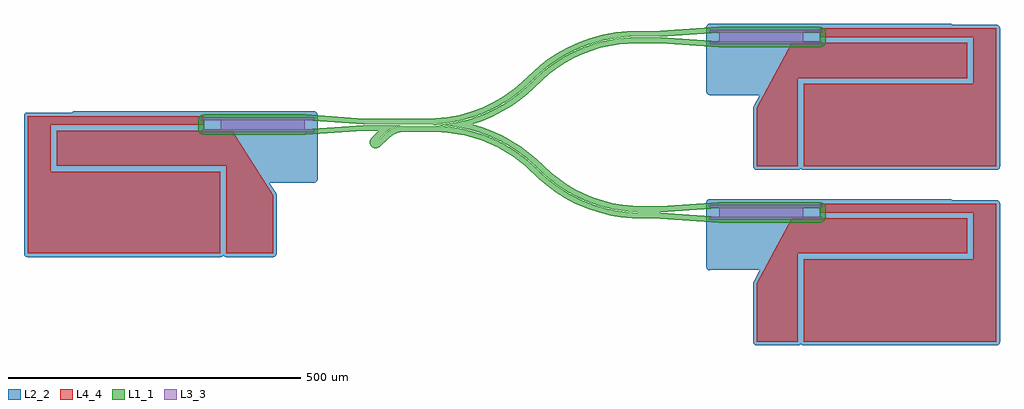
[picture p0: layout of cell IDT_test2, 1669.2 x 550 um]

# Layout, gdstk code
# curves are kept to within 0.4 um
import gdstk
lib = gdstk.Library(unit=1e-6, precision=1e-09)
def P(c, l, *ps):  # polygons
    for p in ps: c.add(gdstk.Polygon(p, *l))
L1_1 = (1, 1)
L2_2 = (2, 2)
L3_3 = (3, 3)
L4_4 = (4, 4)

idt_test2 = lib.new_cell('IDT_test2')
P(idt_test2, L1_1, [(-778.8,-12.75),(-952.58,-12.702),(-957.944,-10.48),(-961.169,-5.653),(-961.552,13.23),(-960.419,16.964),(-957.944,19.98),(-955.427,21.489),(-951.6,22.25),(-778.8,22.25),(-678.455,15.35),(-565.816,15.369),(-536.073,17.598),(-515.529,21.352),(-495.389,26.884),(-475.809,34.149),(-456.936,43.093),(-438.915,53.648),(-423.728,64.424),(-423.728,51.889),(-441.417,40.335),(-460.589,30.048),(-480.585,21.472),(-501.252,14.672),(-522.434,9.698),(-543.968,6.589),(-565.691,5.369),(-678.8,5.35),(-778.8,12.25),(-951.6,12.25),(-951.6,-2.75),(-778.8,-2.75),(-678.8,4.15),(-568.8,4.15),(-550.073,4.851),(-531.45,6.949),(-516.086,9.757),(-500.927,13.516),(-483.09,19.263),(-468.587,25.059),(-451.702,33.191),(-438.128,40.915),(-423.728,50.417),(-423.728,38.307),(-424.746,37.585),(-441.269,27.488),(-458.609,18.593),(-476.565,11.018),(-493.392,5.304),(-475.862,0.1),(-460.518,-5.594),(-442.868,-13.558),(-428.446,-21.295),(-423.728,-24.26),(-423.728,-35.873),(-438.95,-26.868),(-452.892,-19.829),(-467.246,-13.673),(-484.934,-7.483),(-499.995,-3.347),(-515.284,-0.157),(-533.848,2.405),(-549.43,3.475),(-610.061,3.634),(-621.896,1.926),(-630.755,-1.361),(-639.353,-6.615),(-644.58,-11.17),(-658.298,-25.736),(-637.135,-6.484),(-628.555,-1.672),(-619.191,1.345),(-610.032,2.435),(-558.8,2.45),(-533.968,1.211),(-515.492,-1.339),(-494.251,-6.048),(-476.428,-11.545),(-456.225,-19.62),(-439.523,-27.922),(-423.728,-37.296),(-423.728,-49.313),(-449.583,-33.915),(-476.92,-21.988),(-505.529,-13.552),(-534.963,-8.74),(-555.816,-7.569),(-611.744,-7.66),(-620.413,-9.301),(-628.5,-12.829),(-634.87,-17.409),(-652.173,-33.642),(-656.53,-35.58),(-660.358,-35.522),(-663.884,-34.031),(-666.592,-31.323),(-668.083,-27.797),(-667.925,-23.031),(-666.203,-19.612),(-653.306,-5.85),(-678.455,-5.85)],
  [(-421.882,65.733),(-408.167,77.241),(-388.992,95.741),(-376.75,106.414),(-363.766,116.377),(-347.632,127.085),(-330.526,136.679),(-309.976,146.106),(-291.545,152.814),(-269.621,158.83),(-247.38,162.895),(-227.989,164.84),(-171.545,165.35),(-71.2,172.25),(101.6,172.25),(104.503,171.819),(107.944,169.98),(109.915,167.806),(111.408,164.201),(111.169,144.347),(107.944,139.52),(102.58,137.298),(-71.2,137.25),(-171.545,144.15),(-211.662,144.15),(-241.461,142.292),(-256.2,139.976),(-273.654,135.992),(-290.762,130.715),(-304.684,125.351),(-318.246,119.13),(-333.968,110.568),(-349.007,100.855),(-360.957,91.92),(-374.526,80.242),(-398.861,57.182),(-411.498,46.98),(-423.728,38.307),(-423.728,50.417),(-402.982,66.855),(-372.004,95.801),(-352.185,110.814),(-330.97,123.778),(-308.569,134.566),(-285.205,143.07),(-261.111,149.205),(-242.705,152.214),(-224.125,153.84),(-171.2,154.15),(-71.2,147.25),(101.6,147.25),(101.6,162.25),(-71.2,162.25),(-171.2,155.35),(-227.304,154.863),(-242.854,153.405),(-258.283,150.981),(-279.566,145.984),(-300.332,139.15),(-320.424,130.533),(-339.689,120.197),(-355.431,110.03),(-370.37,98.714),(-382.145,88.453),(-403.776,67.755),(-423.728,51.889),(-423.728,64.424)],
  [(-412.05,-31.597),(-396.367,-43.166),(-383.896,-53.764),(-357.276,-78.641),(-333.279,-96.352),(-317.887,-105.496),(-301.855,-113.464),(-285.273,-120.212),(-268.232,-125.702),(-253.751,-129.294),(-236.12,-132.402),(-218.306,-134.185),(-171.545,-134.65),(-71.2,-127.75),(102.58,-127.798),(105.427,-128.511),(108.671,-130.679),(110.839,-133.923),(111.6,-137.75),(111.169,-155.653),(108.671,-159.821),(103.551,-162.558),(-71.2,-162.75),(-171.545,-155.85),(-219.689,-155.34),(-238.956,-153.412),(-255.091,-150.67),(-277.036,-145.228),(-295.628,-138.982),(-316.407,-130.069),(-333.747,-120.905),(-350.143,-110.603),(-365.826,-99.034),(-378.297,-88.436),(-402.643,-65.492),(-423.728,-49.313),(-423.728,-37.296),(-410.701,-46.283),(-398.489,-55.899),(-371.541,-81.063),(-359.64,-91.177),(-347.131,-100.53),(-331.389,-110.697),(-312.124,-121.033),(-292.032,-129.65),(-271.266,-136.484),(-249.983,-141.481),(-234.554,-143.905),(-219.004,-145.363),(-211.2,-145.85),(-171.2,-145.85),(-71.2,-152.75),(101.6,-152.75),(101.6,-137.75),(-71.2,-137.75),(-171.2,-144.65),(-218.929,-144.166),(-237.487,-142.309),(-252.811,-139.705),(-276.905,-133.57),(-300.269,-125.066),(-322.67,-114.278),(-343.885,-101.314),(-366.074,-84.288),(-388.349,-63.247),(-400.123,-52.986),(-412.514,-43.478),(-423.728,-35.873),(-423.728,-24.26)])
P(idt_test2, L2_2, [(-12.4,33.5),(-11.678,36.353),(-1.329,55.5),(-86.4,55.5),(-89.228,56.208),(-91.692,58.672),(-92.4,61.5),(-92.4,171.5),(-91.389,174.833),(-88.142,177.242),(323.6,177.5),(325.896,177.043),(328.063,175.5),(404.188,175.471),(407.406,174.138),(409.342,171.242),(409.6,-66.5),(408.589,-69.833),(405.342,-72.242),(73.6,-72.5),(70.772,-71.792),(68.6,-69.815),(66.428,-71.792),(63.6,-72.5),(-8.142,-72.242),(-11.389,-69.833),(-12.4,-66.5)],
  [(-6.4,-372.5),(-8.696,-372.043),(-10.643,-370.743),(-12.371,-367.088),(-12.4,-266.5),(-11.678,-263.647),(-1.329,-244.5),(-86.4,-244.5),(-89.228,-243.792),(-91.389,-241.833),(-92.4,-238.5),(-92.4,-128.5),(-91.692,-125.672),(-89.228,-123.208),(-86.4,-122.5),(323.6,-122.5),(325.896,-122.957),(328.063,-124.5),(404.188,-124.529),(406.933,-125.511),(408.892,-127.672),(409.6,-130.5),(409.6,-366.5),(408.892,-369.328),(406.428,-371.792),(403.6,-372.5),(73.6,-372.5),(70.772,-371.792),(68.6,-369.815),(66.428,-371.792),(63.6,-372.5)],
  [(-1178.063,25.5),(-1175.896,27.043),(-1173.6,27.5),(-761.858,27.242),(-758.611,24.833),(-757.6,21.5),(-757.858,-90.242),(-759.794,-93.138),(-763.012,-94.471),(-839.852,-94.5),(-828.538,-112.279),(-827.627,-114.934),(-827.6,-215.5),(-828.611,-218.833),(-831.858,-221.242),(-913.6,-221.5),(-916.428,-220.792),(-918.6,-218.815),(-920.772,-220.792),(-923.6,-221.5),(-1255.342,-221.242),(-1258.589,-218.833),(-1259.6,-215.5),(-1259.342,21.242),(-1257.406,24.138),(-1254.188,25.471)])
P(idt_test2, L3_3, [(-68.845,-138.25),(-68.4,-138.25),(-68.4,-153),(-67.045,-153),(-67.045,-138.25),(-66.6,-138.25),(-66.6,-153),(-65.245,-153),(-65.245,-138.25),(-64.8,-138.25),(-64.8,-153),(-63.445,-153),(-63.445,-138.25),(-63,-138.25),(-63,-153),(-61.645,-153),(-61.645,-138.25),(-61.2,-138.25),(-61.2,-153),(-59.845,-153),(-59.845,-138.25),(-59.4,-138.25),(-59.4,-153),(-58.045,-153),(-58.045,-138.25),(-57.6,-138.25),(-57.6,-153),(-56.245,-153),(-56.245,-138.25),(-55.8,-138.25),(-55.8,-153),(-54.445,-153),(-54.445,-138.25),(-54,-138.25),(-54,-153),(-52.645,-153),(-52.645,-138.25),(-52.2,-138.25),(-52.2,-153),(-50.845,-153),(-50.845,-138.25),(-50.4,-138.25),(-50.4,-153),(-49.045,-153),(-49.045,-138.25),(-48.6,-138.25),(-48.6,-153),(-47.245,-153),(-47.245,-138.25),(-46.8,-138.25),(-46.8,-153),(-45.445,-153),(-45.445,-138.25),(-45,-138.25),(-45,-153),(-43.645,-153),(-43.645,-138.25),(-43.2,-138.25),(-43.2,-153),(-41.845,-153),(-41.845,-138.25),(-41.4,-138.25),(-41.4,-153),(-40.045,-153),(-40.045,-138.25),(-39.6,-138.25),(-39.6,-153),(-38.245,-153),(-38.245,-138.25),(-37.8,-138.25),(-37.8,-153),(-36.445,-153),(-36.445,-138.25),(-36,-138.25),(-36,-153),(-34.645,-153),(-34.645,-138.25),(-34.2,-138.25),(-34.2,-153),(-32.845,-153),(-32.845,-138.25),(-32.4,-138.25),(-32.4,-153),(-31.045,-153),(-31.045,-138.25),(-30.6,-138.25),(-30.6,-153),(-29.245,-153),(-29.245,-138.25),(-28.8,-138.25),(-28.8,-153),(-27.445,-153),(-27.445,-138.25),(-27,-138.25),(-27,-153),(-25.645,-153),(-25.645,-138.25),(-25.2,-138.25),(-25.2,-153),(-23.845,-153),(-23.845,-138.25),(-23.4,-138.25),(-23.4,-153),(-22.045,-153),(-22.045,-138.25),(-21.6,-138.25),(-21.6,-153),(-20.245,-153),(-20.245,-138.25),(-19.8,-138.25),(-19.8,-153),(-18.445,-153),(-18.445,-138.25),(-18,-138.25),(-18,-153),(-16.645,-153),(-16.645,-138.25),(-16.2,-138.25),(-16.2,-153),(-14.845,-153),(-14.845,-138.25),(-14.4,-138.25),(-14.4,-153),(-13.045,-153),(-13.045,-138.25),(-12.6,-138.25),(-12.6,-153),(-11.245,-153),(-11.245,-138.25),(-10.8,-138.25),(-10.8,-153),(-9.445,-153),(-9.445,-138.25),(-9,-138.25),(-9,-153),(-7.645,-153),(-7.645,-138.25),(-7.2,-138.25),(-7.2,-153),(-5.845,-153),(-5.845,-138.25),(-5.4,-138.25),(-5.4,-153),(-4.045,-153),(-4.045,-138.25),(-3.6,-138.25),(-3.6,-153),(-2.245,-153),(-2.245,-138.25),(-1.8,-138.25),(-1.8,-153),(-0.445,-153),(-0.445,-138.25),(0,-138.25),(0,-153),(1.355,-153),(1.355,-138.25),(1.8,-138.25),(1.8,-153),(3.155,-153),(3.155,-138.25),(3.6,-138.25),(3.6,-153),(4.955,-153),(4.955,-138.25),(5.4,-138.25),(5.4,-153),(6.755,-153),(6.755,-138.25),(7.2,-138.25),(7.2,-153),(8.555,-153),(8.555,-138.25),(9,-138.25),(9,-153),(10.355,-153),(10.355,-138.25),(10.8,-138.25),(10.8,-153),(12.155,-153),(12.155,-138.25),(12.6,-138.25),(12.6,-153),(13.955,-153),(13.955,-138.25),(14.4,-138.25),(14.4,-153),(15.755,-153),(15.755,-138.25),(16.2,-138.25),(16.2,-153),(17.555,-153),(17.555,-138.25),(18,-138.25),(18,-153),(19.355,-153),(19.355,-138.25),(19.8,-138.25),(19.8,-153),(21.155,-153),(21.155,-138.25),(21.6,-138.25),(21.6,-153),(22.955,-153),(22.955,-138.25),(23.4,-138.25),(23.4,-153),(24.755,-153),(24.755,-138.25),(25.2,-138.25),(25.2,-153),(26.555,-153),(26.555,-138.25),(27,-138.25),(27,-153),(28.355,-153),(28.355,-138.25),(28.8,-138.25),(28.8,-153),(30.155,-153),(30.155,-138.25),(30.6,-138.25),(30.6,-153),(31.955,-153),(31.955,-138.25),(32.4,-138.25),(32.4,-153),(33.755,-153),(33.755,-138.25),(34.2,-138.25),(34.2,-153),(35.555,-153),(35.555,-138.25),(36,-138.25),(36,-153),(37.355,-153),(37.355,-138.25),(37.8,-138.25),(37.8,-153),(39.155,-153),(39.155,-138.25),(39.6,-138.25),(39.6,-153),(40.955,-153),(40.955,-138.25),(41.4,-138.25),(41.4,-153),(42.755,-153),(42.755,-138.25),(43.2,-138.25),(43.2,-153),(44.555,-153),(44.555,-138.25),(45,-138.25),(45,-153),(46.355,-153),(46.355,-138.25),(46.8,-138.25),(46.8,-153),(48.155,-153),(48.155,-138.25),(48.6,-138.25),(48.6,-153),(49.955,-153),(49.955,-138.25),(50.4,-138.25),(50.4,-153),(51.755,-153),(51.755,-138.25),(52.2,-138.25),(52.2,-153),(53.555,-153),(53.555,-138.25),(54,-138.25),(54,-153),(55.355,-153),(55.355,-138.25),(55.8,-138.25),(55.8,-153),(57.155,-153),(57.155,-138.25),(57.6,-138.25),(57.6,-153),(58.955,-153),(58.955,-138.25),(59.4,-138.25),(59.4,-153),(60.755,-153),(60.755,-138.25),(61.2,-138.25),(61.2,-153),(62.555,-153),(62.555,-138.25),(63,-138.25),(63,-153),(64.355,-153),(64.355,-138.25),(64.8,-138.25),(64.8,-153),(66.155,-153),(66.155,-138.25),(66.6,-138.25),(66.6,-153),(67.955,-153),(67.955,-138.25),(68.4,-138.25),(68.4,-153),(69.755,-153),(69.755,-138.25),(70.2,-138.25),(70.2,-153),(71.555,-153),(71.555,-138.25),(72,-138.25),(72,-153),(105.6,-153),(105.6,-158),(-86.4,-158),(-86.4,-153),(-70.645,-153),(-70.645,-138.25),(-70.2,-138.25),(-70.2,-153),(-68.845,-153),(-68.845,-138.25)],
  [(-56.7,-152.25),(-57.145,-152.25),(-57.145,-137.5),(-58.5,-137.5),(-58.5,-152.25),(-58.945,-152.25),(-58.945,-137.5),(-60.3,-137.5),(-60.3,-152.25),(-60.745,-152.25),(-60.745,-137.5),(-62.1,-137.5),(-62.1,-152.25),(-62.545,-152.25),(-62.545,-137.5),(-63.9,-137.5),(-63.9,-152.25),(-64.345,-152.25),(-64.345,-137.5),(-65.7,-137.5),(-65.7,-152.25),(-66.145,-152.25),(-66.145,-137.5),(-67.5,-137.5),(-67.5,-152.25),(-67.945,-152.25),(-67.945,-137.5),(-69.3,-137.5),(-69.3,-152.25),(-69.745,-152.25),(-69.745,-137.5),(-86.4,-137.5),(-86.4,-132.5),(105.6,-132.5),(105.6,-137.5),(72.9,-137.5),(72.9,-152.25),(72.455,-152.25),(72.455,-137.5),(71.1,-137.5),(71.1,-152.25),(70.655,-152.25),(70.655,-137.5),(69.3,-137.5),(69.3,-152.25),(68.855,-152.25),(68.855,-137.5),(67.5,-137.5),(67.5,-152.25),(67.055,-152.25),(67.055,-137.5),(65.7,-137.5),(65.7,-152.25),(65.255,-152.25),(65.255,-137.5),(63.9,-137.5),(63.9,-152.25),(63.455,-152.25),(63.455,-137.5),(62.1,-137.5),(62.1,-152.25),(61.655,-152.25),(61.655,-137.5),(60.3,-137.5),(60.3,-152.25),(59.855,-152.25),(59.855,-137.5),(58.5,-137.5),(58.5,-152.25),(58.055,-152.25),(58.055,-137.5),(56.7,-137.5),(56.7,-152.25),(56.255,-152.25),(56.255,-137.5),(54.9,-137.5),(54.9,-152.25),(54.455,-152.25),(54.455,-137.5),(53.1,-137.5),(53.1,-152.25),(52.655,-152.25),(52.655,-137.5),(51.3,-137.5),(51.3,-152.25),(50.855,-152.25),(50.855,-137.5),(49.5,-137.5),(49.5,-152.25),(49.055,-152.25),(49.055,-137.5),(47.7,-137.5),(47.7,-152.25),(47.255,-152.25),(47.255,-137.5),(45.9,-137.5),(45.9,-152.25),(45.455,-152.25),(45.455,-137.5),(44.1,-137.5),(44.1,-152.25),(43.655,-152.25),(43.655,-137.5),(42.3,-137.5),(42.3,-152.25),(41.855,-152.25),(41.855,-137.5),(40.5,-137.5),(40.5,-152.25),(40.055,-152.25),(40.055,-137.5),(38.7,-137.5),(38.7,-152.25),(38.255,-152.25),(38.255,-137.5),(36.9,-137.5),(36.9,-152.25),(36.455,-152.25),(36.455,-137.5),(35.1,-137.5),(35.1,-152.25),(34.655,-152.25),(34.655,-137.5),(33.3,-137.5),(33.3,-152.25),(32.855,-152.25),(32.855,-137.5),(31.5,-137.5),(31.5,-152.25),(31.055,-152.25),(31.055,-137.5),(29.7,-137.5),(29.7,-152.25),(29.255,-152.25),(29.255,-137.5),(27.9,-137.5),(27.9,-152.25),(27.455,-152.25),(27.455,-137.5),(26.1,-137.5),(26.1,-152.25),(25.655,-152.25),(25.655,-137.5),(24.3,-137.5),(24.3,-152.25),(23.855,-152.25),(23.855,-137.5),(22.5,-137.5),(22.5,-152.25),(22.055,-152.25),(22.055,-137.5),(20.7,-137.5),(20.7,-152.25),(20.255,-152.25),(20.255,-137.5),(18.9,-137.5),(18.9,-152.25),(18.455,-152.25),(18.455,-137.5),(17.1,-137.5),(17.1,-152.25),(16.655,-152.25),(16.655,-137.5),(15.3,-137.5),(15.3,-152.25),(14.855,-152.25),(14.855,-137.5),(13.5,-137.5),(13.5,-152.25),(13.055,-152.25),(13.055,-137.5),(11.7,-137.5),(11.7,-152.25),(11.255,-152.25),(11.255,-137.5),(9.9,-137.5),(9.9,-152.25),(9.455,-152.25),(9.455,-137.5),(8.1,-137.5),(8.1,-152.25),(7.655,-152.25),(7.655,-137.5),(6.3,-137.5),(6.3,-152.25),(5.855,-152.25),(5.855,-137.5),(4.5,-137.5),(4.5,-152.25),(4.055,-152.25),(4.055,-137.5),(2.7,-137.5),(2.7,-152.25),(2.255,-152.25),(2.255,-137.5),(0.9,-137.5),(0.9,-152.25),(0.455,-152.25),(0.455,-137.5),(-0.9,-137.5),(-0.9,-152.25),(-1.345,-152.25),(-1.345,-137.5),(-2.7,-137.5),(-2.7,-152.25),(-3.145,-152.25),(-3.145,-137.5),(-4.5,-137.5),(-4.5,-152.25),(-4.945,-152.25),(-4.945,-137.5),(-6.3,-137.5),(-6.3,-152.25),(-6.745,-152.25),(-6.745,-137.5),(-8.1,-137.5),(-8.1,-152.25),(-8.545,-152.25),(-8.545,-137.5),(-9.9,-137.5),(-9.9,-152.25),(-10.345,-152.25),(-10.345,-137.5),(-11.7,-137.5),(-11.7,-152.25),(-12.145,-152.25),(-12.145,-137.5),(-13.5,-137.5),(-13.5,-152.25),(-13.945,-152.25),(-13.945,-137.5),(-15.3,-137.5),(-15.3,-152.25),(-15.745,-152.25),(-15.745,-137.5),(-17.1,-137.5),(-17.1,-152.25),(-17.545,-152.25),(-17.545,-137.5),(-18.9,-137.5),(-18.9,-152.25),(-19.345,-152.25),(-19.345,-137.5),(-20.7,-137.5),(-20.7,-152.25),(-21.145,-152.25),(-21.145,-137.5),(-22.5,-137.5),(-22.5,-152.25),(-22.945,-152.25),(-22.945,-137.5),(-24.3,-137.5),(-24.3,-152.25),(-24.745,-152.25),(-24.745,-137.5),(-26.1,-137.5),(-26.1,-152.25),(-26.545,-152.25),(-26.545,-137.5),(-27.9,-137.5),(-27.9,-152.25),(-28.345,-152.25),(-28.345,-137.5),(-29.7,-137.5),(-29.7,-152.25),(-30.145,-152.25),(-30.145,-137.5),(-31.5,-137.5),(-31.5,-152.25),(-31.945,-152.25),(-31.945,-137.5),(-33.3,-137.5),(-33.3,-152.25),(-33.745,-152.25),(-33.745,-137.5),(-35.1,-137.5),(-35.1,-152.25),(-35.545,-152.25),(-35.545,-137.5),(-36.9,-137.5),(-36.9,-152.25),(-37.345,-152.25),(-37.345,-137.5),(-38.7,-137.5),(-38.7,-152.25),(-39.145,-152.25),(-39.145,-137.5),(-40.5,-137.5),(-40.5,-152.25),(-40.945,-152.25),(-40.945,-137.5),(-42.3,-137.5),(-42.3,-152.25),(-42.745,-152.25),(-42.745,-137.5),(-44.1,-137.5),(-44.1,-152.25),(-44.545,-152.25),(-44.545,-137.5),(-45.9,-137.5),(-45.9,-152.25),(-46.345,-152.25),(-46.345,-137.5),(-47.7,-137.5),(-47.7,-152.25),(-48.145,-152.25),(-48.145,-137.5),(-49.5,-137.5),(-49.5,-152.25),(-49.945,-152.25),(-49.945,-137.5),(-51.3,-137.5),(-51.3,-152.25),(-51.745,-152.25),(-51.745,-137.5),(-53.1,-137.5),(-53.1,-152.25),(-53.545,-152.25),(-53.545,-137.5),(-54.9,-137.5),(-54.9,-152.25),(-55.345,-152.25),(-55.345,-137.5),(-56.7,-137.5),(-56.7,-152.25)],
  [(-898.6,11.75),(-898.155,11.75),(-898.155,-3),(-896.8,-3),(-896.8,11.75),(-896.355,11.75),(-896.355,-3),(-895,-3),(-895,11.75),(-894.555,11.75),(-894.555,-3),(-893.2,-3),(-893.2,11.75),(-892.755,11.75),(-892.755,-3),(-891.4,-3),(-891.4,11.75),(-890.955,11.75),(-890.955,-3),(-889.6,-3),(-889.6,11.75),(-889.155,11.75),(-889.155,-3),(-887.8,-3),(-887.8,11.75),(-887.355,11.75),(-887.355,-3),(-886,-3),(-886,11.75),(-885.555,11.75),(-885.555,-3),(-884.2,-3),(-884.2,11.75),(-883.755,11.75),(-883.755,-3),(-882.4,-3),(-882.4,11.75),(-881.955,11.75),(-881.955,-3),(-880.6,-3),(-880.6,11.75),(-880.155,11.75),(-880.155,-3),(-878.8,-3),(-878.8,11.75),(-878.355,11.75),(-878.355,-3),(-877,-3),(-877,11.75),(-876.555,11.75),(-876.555,-3),(-875.2,-3),(-875.2,11.75),(-874.755,11.75),(-874.755,-3),(-873.4,-3),(-873.4,11.75),(-872.955,11.75),(-872.955,-3),(-871.6,-3),(-871.6,11.75),(-871.155,11.75),(-871.155,-3),(-869.8,-3),(-869.8,11.75),(-869.355,11.75),(-869.355,-3),(-868,-3),(-868,11.75),(-867.555,11.75),(-867.555,-3),(-866.2,-3),(-866.2,11.75),(-865.755,11.75),(-865.755,-3),(-864.4,-3),(-864.4,11.75),(-863.955,11.75),(-863.955,-3),(-862.6,-3),(-862.6,11.75),(-862.155,11.75),(-862.155,-3),(-860.8,-3),(-860.8,11.75),(-860.355,11.75),(-860.355,-3),(-859,-3),(-859,11.75),(-858.555,11.75),(-858.555,-3),(-857.2,-3),(-857.2,11.75),(-856.755,11.75),(-856.755,-3),(-855.4,-3),(-855.4,11.75),(-854.955,11.75),(-854.955,-3),(-853.6,-3),(-853.6,11.75),(-853.155,11.75),(-853.155,-3),(-851.8,-3),(-851.8,11.75),(-851.355,11.75),(-851.355,-3),(-850,-3),(-850,11.75),(-849.555,11.75),(-849.555,-3),(-848.2,-3),(-848.2,11.75),(-847.755,11.75),(-847.755,-3),(-846.4,-3),(-846.4,11.75),(-845.955,11.75),(-845.955,-3),(-844.6,-3),(-844.6,11.75),(-844.155,11.75),(-844.155,-3),(-842.8,-3),(-842.8,11.75),(-842.355,11.75),(-842.355,-3),(-841,-3),(-841,11.75),(-840.555,11.75),(-840.555,-3),(-839.2,-3),(-839.2,11.75),(-838.755,11.75),(-838.755,-3),(-837.4,-3),(-837.4,11.75),(-836.955,11.75),(-836.955,-3),(-835.6,-3),(-835.6,11.75),(-835.155,11.75),(-835.155,-3),(-833.8,-3),(-833.8,11.75),(-833.355,11.75),(-833.355,-3),(-832,-3),(-832,11.75),(-831.555,11.75),(-831.555,-3),(-830.2,-3),(-830.2,11.75),(-829.755,11.75),(-829.755,-3),(-828.4,-3),(-828.4,11.75),(-827.955,11.75),(-827.955,-3),(-826.6,-3),(-826.6,11.75),(-826.155,11.75),(-826.155,-3),(-824.8,-3),(-824.8,11.75),(-824.355,11.75),(-824.355,-3),(-823,-3),(-823,11.75),(-822.555,11.75),(-822.555,-3),(-821.2,-3),(-821.2,11.75),(-820.755,11.75),(-820.755,-3),(-819.4,-3),(-819.4,11.75),(-818.955,11.75),(-818.955,-3),(-817.6,-3),(-817.6,11.75),(-817.155,11.75),(-817.155,-3),(-815.8,-3),(-815.8,11.75),(-815.355,11.75),(-815.355,-3),(-814,-3),(-814,11.75),(-813.555,11.75),(-813.555,-3),(-812.2,-3),(-812.2,11.75),(-811.755,11.75),(-811.755,-3),(-810.4,-3),(-810.4,11.75),(-809.955,11.75),(-809.955,-3),(-808.6,-3),(-808.6,11.75),(-808.155,11.75),(-808.155,-3),(-806.8,-3),(-806.8,11.75),(-806.355,11.75),(-806.355,-3),(-805,-3),(-805,11.75),(-804.555,11.75),(-804.555,-3),(-803.2,-3),(-803.2,11.75),(-802.755,11.75),(-802.755,-3),(-801.4,-3),(-801.4,11.75),(-800.955,11.75),(-800.955,-3),(-799.6,-3),(-799.6,11.75),(-799.155,11.75),(-799.155,-3),(-797.8,-3),(-797.8,11.75),(-797.355,11.75),(-797.355,-3),(-796,-3),(-796,11.75),(-795.555,11.75),(-795.555,-3),(-794.2,-3),(-794.2,11.75),(-793.755,11.75),(-793.755,-3),(-792.4,-3),(-792.4,11.75),(-791.955,11.75),(-791.955,-3),(-790.6,-3),(-790.6,11.75),(-790.155,11.75),(-790.155,-3),(-788.8,-3),(-788.8,11.75),(-788.355,11.75),(-788.355,-3),(-787,-3),(-787,11.75),(-786.555,11.75),(-786.555,-3),(-785.2,-3),(-785.2,11.75),(-784.755,11.75),(-784.755,-3),(-783.4,-3),(-783.4,11.75),(-782.955,11.75),(-782.955,-3),(-781.6,-3),(-781.6,11.75),(-781.155,11.75),(-781.155,-3),(-779.8,-3),(-779.8,11.75),(-779.355,11.75),(-779.355,-3),(-763.6,-3),(-763.6,-8),(-955.6,-8),(-955.6,-3),(-922,-3),(-922,11.75),(-921.555,11.75),(-921.555,-3),(-920.2,-3),(-920.2,11.75),(-919.755,11.75),(-919.755,-3),(-918.4,-3),(-918.4,11.75),(-917.955,11.75),(-917.955,-3),(-916.6,-3),(-916.6,11.75),(-916.155,11.75),(-916.155,-3),(-914.8,-3),(-914.8,11.75),(-914.355,11.75),(-914.355,-3),(-913,-3),(-913,11.75),(-912.555,11.75),(-912.555,-3),(-911.2,-3),(-911.2,11.75),(-910.755,11.75),(-910.755,-3),(-909.4,-3),(-909.4,11.75),(-908.955,11.75),(-908.955,-3),(-907.6,-3),(-907.6,11.75),(-907.155,11.75),(-907.155,-3),(-905.8,-3),(-905.8,11.75),(-905.355,11.75),(-905.355,-3),(-904,-3),(-904,11.75),(-903.555,11.75),(-903.555,-3),(-902.2,-3),(-902.2,11.75),(-901.755,11.75),(-901.755,-3),(-900.4,-3),(-900.4,11.75),(-899.955,11.75),(-899.955,-3),(-898.6,-3),(-898.6,11.75)],
  [(-895.455,-2.25),(-895.9,-2.25),(-895.9,12.5),(-897.255,12.5),(-897.255,-2.25),(-897.7,-2.25),(-897.7,12.5),(-899.055,12.5),(-899.055,-2.25),(-899.5,-2.25),(-899.5,12.5),(-900.855,12.5),(-900.855,-2.25),(-901.3,-2.25),(-901.3,12.5),(-902.655,12.5),(-902.655,-2.25),(-903.1,-2.25),(-903.1,12.5),(-904.455,12.5),(-904.455,-2.25),(-904.9,-2.25),(-904.9,12.5),(-906.255,12.5),(-906.255,-2.25),(-906.7,-2.25),(-906.7,12.5),(-908.055,12.5),(-908.055,-2.25),(-908.5,-2.25),(-908.5,12.5),(-909.855,12.5),(-909.855,-2.25),(-910.3,-2.25),(-910.3,12.5),(-911.655,12.5),(-911.655,-2.25),(-912.1,-2.25),(-912.1,12.5),(-913.455,12.5),(-913.455,-2.25),(-913.9,-2.25),(-913.9,12.5),(-915.255,12.5),(-915.255,-2.25),(-915.7,-2.25),(-915.7,12.5),(-917.055,12.5),(-917.055,-2.25),(-917.5,-2.25),(-917.5,12.5),(-918.855,12.5),(-918.855,-2.25),(-919.3,-2.25),(-919.3,12.5),(-920.655,12.5),(-920.655,-2.25),(-921.1,-2.25),(-921.1,12.5),(-922.455,12.5),(-922.455,-2.25),(-922.9,-2.25),(-922.9,12.5),(-955.6,12.5),(-955.6,17.5),(-763.6,17.5),(-763.6,12.5),(-780.255,12.5),(-780.255,-2.25),(-780.7,-2.25),(-780.7,12.5),(-782.055,12.5),(-782.055,-2.25),(-782.5,-2.25),(-782.5,12.5),(-783.855,12.5),(-783.855,-2.25),(-784.3,-2.25),(-784.3,12.5),(-785.655,12.5),(-785.655,-2.25),(-786.1,-2.25),(-786.1,12.5),(-787.455,12.5),(-787.455,-2.25),(-787.9,-2.25),(-787.9,12.5),(-789.255,12.5),(-789.255,-2.25),(-789.7,-2.25),(-789.7,12.5),(-791.055,12.5),(-791.055,-2.25),(-791.5,-2.25),(-791.5,12.5),(-792.855,12.5),(-792.855,-2.25),(-793.3,-2.25),(-793.3,12.5),(-794.655,12.5),(-794.655,-2.25),(-795.1,-2.25),(-795.1,12.5),(-796.455,12.5),(-796.455,-2.25),(-796.9,-2.25),(-796.9,12.5),(-798.255,12.5),(-798.255,-2.25),(-798.7,-2.25),(-798.7,12.5),(-800.055,12.5),(-800.055,-2.25),(-800.5,-2.25),(-800.5,12.5),(-801.855,12.5),(-801.855,-2.25),(-802.3,-2.25),(-802.3,12.5),(-803.655,12.5),(-803.655,-2.25),(-804.1,-2.25),(-804.1,12.5),(-805.455,12.5),(-805.455,-2.25),(-805.9,-2.25),(-805.9,12.5),(-807.255,12.5),(-807.255,-2.25),(-807.7,-2.25),(-807.7,12.5),(-809.055,12.5),(-809.055,-2.25),(-809.5,-2.25),(-809.5,12.5),(-810.855,12.5),(-810.855,-2.25),(-811.3,-2.25),(-811.3,12.5),(-812.655,12.5),(-812.655,-2.25),(-813.1,-2.25),(-813.1,12.5),(-814.455,12.5),(-814.455,-2.25),(-814.9,-2.25),(-814.9,12.5),(-816.255,12.5),(-816.255,-2.25),(-816.7,-2.25),(-816.7,12.5),(-818.055,12.5),(-818.055,-2.25),(-818.5,-2.25),(-818.5,12.5),(-819.855,12.5),(-819.855,-2.25),(-820.3,-2.25),(-820.3,12.5),(-821.655,12.5),(-821.655,-2.25),(-822.1,-2.25),(-822.1,12.5),(-823.455,12.5),(-823.455,-2.25),(-823.9,-2.25),(-823.9,12.5),(-825.255,12.5),(-825.255,-2.25),(-825.7,-2.25),(-825.7,12.5),(-827.055,12.5),(-827.055,-2.25),(-827.5,-2.25),(-827.5,12.5),(-828.855,12.5),(-828.855,-2.25),(-829.3,-2.25),(-829.3,12.5),(-830.655,12.5),(-830.655,-2.25),(-831.1,-2.25),(-831.1,12.5),(-832.455,12.5),(-832.455,-2.25),(-832.9,-2.25),(-832.9,12.5),(-834.255,12.5),(-834.255,-2.25),(-834.7,-2.25),(-834.7,12.5),(-836.055,12.5),(-836.055,-2.25),(-836.5,-2.25),(-836.5,12.5),(-837.855,12.5),(-837.855,-2.25),(-838.3,-2.25),(-838.3,12.5),(-839.655,12.5),(-839.655,-2.25),(-840.1,-2.25),(-840.1,12.5),(-841.455,12.5),(-841.455,-2.25),(-841.9,-2.25),(-841.9,12.5),(-843.255,12.5),(-843.255,-2.25),(-843.7,-2.25),(-843.7,12.5),(-845.055,12.5),(-845.055,-2.25),(-845.5,-2.25),(-845.5,12.5),(-846.855,12.5),(-846.855,-2.25),(-847.3,-2.25),(-847.3,12.5),(-848.655,12.5),(-848.655,-2.25),(-849.1,-2.25),(-849.1,12.5),(-850.455,12.5),(-850.455,-2.25),(-850.9,-2.25),(-850.9,12.5),(-852.255,12.5),(-852.255,-2.25),(-852.7,-2.25),(-852.7,12.5),(-854.055,12.5),(-854.055,-2.25),(-854.5,-2.25),(-854.5,12.5),(-855.855,12.5),(-855.855,-2.25),(-856.3,-2.25),(-856.3,12.5),(-857.655,12.5),(-857.655,-2.25),(-858.1,-2.25),(-858.1,12.5),(-859.455,12.5),(-859.455,-2.25),(-859.9,-2.25),(-859.9,12.5),(-861.255,12.5),(-861.255,-2.25),(-861.7,-2.25),(-861.7,12.5),(-863.055,12.5),(-863.055,-2.25),(-863.5,-2.25),(-863.5,12.5),(-864.855,12.5),(-864.855,-2.25),(-865.3,-2.25),(-865.3,12.5),(-866.655,12.5),(-866.655,-2.25),(-867.1,-2.25),(-867.1,12.5),(-868.455,12.5),(-868.455,-2.25),(-868.9,-2.25),(-868.9,12.5),(-870.255,12.5),(-870.255,-2.25),(-870.7,-2.25),(-870.7,12.5),(-872.055,12.5),(-872.055,-2.25),(-872.5,-2.25),(-872.5,12.5),(-873.855,12.5),(-873.855,-2.25),(-874.3,-2.25),(-874.3,12.5),(-875.655,12.5),(-875.655,-2.25),(-876.1,-2.25),(-876.1,12.5),(-877.455,12.5),(-877.455,-2.25),(-877.9,-2.25),(-877.9,12.5),(-879.255,12.5),(-879.255,-2.25),(-879.7,-2.25),(-879.7,12.5),(-881.055,12.5),(-881.055,-2.25),(-881.5,-2.25),(-881.5,12.5),(-882.855,12.5),(-882.855,-2.25),(-883.3,-2.25),(-883.3,12.5),(-884.655,12.5),(-884.655,-2.25),(-885.1,-2.25),(-885.1,12.5),(-886.455,12.5),(-886.455,-2.25),(-886.9,-2.25),(-886.9,12.5),(-888.255,12.5),(-888.255,-2.25),(-888.7,-2.25),(-888.7,12.5),(-890.055,12.5),(-890.055,-2.25),(-890.5,-2.25),(-890.5,12.5),(-891.855,12.5),(-891.855,-2.25),(-892.3,-2.25),(-892.3,12.5),(-893.655,12.5),(-893.655,-2.25),(-894.1,-2.25),(-894.1,12.5),(-895.455,12.5),(-895.455,-2.25)],
  [(-68.4,161.75),(-68.4,147),(-67.045,147),(-67.045,161.75),(-66.6,161.75),(-66.6,147),(-65.245,147),(-65.245,161.75),(-64.8,161.75),(-64.8,147),(-63.445,147),(-63.445,161.75),(-63,161.75),(-63,147),(-61.645,147),(-61.645,161.75),(-61.2,161.75),(-61.2,147),(-59.845,147),(-59.845,161.75),(-59.4,161.75),(-59.4,147),(-58.045,147),(-58.045,161.75),(-57.6,161.75),(-57.6,147),(-56.245,147),(-56.245,161.75),(-55.8,161.75),(-55.8,147),(-54.445,147),(-54.445,161.75),(-54,161.75),(-54,147),(-52.645,147),(-52.645,161.75),(-52.2,161.75),(-52.2,147),(-50.845,147),(-50.845,161.75),(-50.4,161.75),(-50.4,147),(-49.045,147),(-49.045,161.75),(-48.6,161.75),(-48.6,147),(-47.245,147),(-47.245,161.75),(-46.8,161.75),(-46.8,147),(-45.445,147),(-45.445,161.75),(-45,161.75),(-45,147),(-43.645,147),(-43.645,161.75),(-43.2,161.75),(-43.2,147),(-41.845,147),(-41.845,161.75),(-41.4,161.75),(-41.4,147),(-40.045,147),(-40.045,161.75),(-39.6,161.75),(-39.6,147),(-38.245,147),(-38.245,161.75),(-37.8,161.75),(-37.8,147),(-36.445,147),(-36.445,161.75),(-36,161.75),(-36,147),(-34.645,147),(-34.645,161.75),(-34.2,161.75),(-34.2,147),(-32.845,147),(-32.845,161.75),(-32.4,161.75),(-32.4,147),(-31.045,147),(-31.045,161.75),(-30.6,161.75),(-30.6,147),(-29.245,147),(-29.245,161.75),(-28.8,161.75),(-28.8,147),(-27.445,147),(-27.445,161.75),(-27,161.75),(-27,147),(-25.645,147),(-25.645,161.75),(-25.2,161.75),(-25.2,147),(-23.845,147),(-23.845,161.75),(-23.4,161.75),(-23.4,147),(-22.045,147),(-22.045,161.75),(-21.6,161.75),(-21.6,147),(-20.245,147),(-20.245,161.75),(-19.8,161.75),(-19.8,147),(-18.445,147),(-18.445,161.75),(-18,161.75),(-18,147),(-16.645,147),(-16.645,161.75),(-16.2,161.75),(-16.2,147),(-14.845,147),(-14.845,161.75),(-14.4,161.75),(-14.4,147),(-13.045,147),(-13.045,161.75),(-12.6,161.75),(-12.6,147),(-11.245,147),(-11.245,161.75),(-10.8,161.75),(-10.8,147),(-9.445,147),(-9.445,161.75),(-9,161.75),(-9,147),(-7.645,147),(-7.645,161.75),(-7.2,161.75),(-7.2,147),(-5.845,147),(-5.845,161.75),(-5.4,161.75),(-5.4,147),(-4.045,147),(-4.045,161.75),(-3.6,161.75),(-3.6,147),(-2.245,147),(-2.245,161.75),(-1.8,161.75),(-1.8,147),(-0.445,147),(-0.445,161.75),(0,161.75),(0,147),(1.355,147),(1.355,161.75),(1.8,161.75),(1.8,147),(3.155,147),(3.155,161.75),(3.6,161.75),(3.6,147),(4.955,147),(4.955,161.75),(5.4,161.75),(5.4,147),(6.755,147),(6.755,161.75),(7.2,161.75),(7.2,147),(8.555,147),(8.555,161.75),(9,161.75),(9,147),(10.355,147),(10.355,161.75),(10.8,161.75),(10.8,147),(12.155,147),(12.155,161.75),(12.6,161.75),(12.6,147),(13.955,147),(13.955,161.75),(14.4,161.75),(14.4,147),(15.755,147),(15.755,161.75),(16.2,161.75),(16.2,147),(17.555,147),(17.555,161.75),(18,161.75),(18,147),(19.355,147),(19.355,161.75),(19.8,161.75),(19.8,147),(21.155,147),(21.155,161.75),(21.6,161.75),(21.6,147),(22.955,147),(22.955,161.75),(23.4,161.75),(23.4,147),(24.755,147),(24.755,161.75),(25.2,161.75),(25.2,147),(26.555,147),(26.555,161.75),(27,161.75),(27,147),(28.355,147),(28.355,161.75),(28.8,161.75),(28.8,147),(30.155,147),(30.155,161.75),(30.6,161.75),(30.6,147),(31.955,147),(31.955,161.75),(32.4,161.75),(32.4,147),(33.755,147),(33.755,161.75),(34.2,161.75),(34.2,147),(35.555,147),(35.555,161.75),(36,161.75),(36,147),(37.355,147),(37.355,161.75),(37.8,161.75),(37.8,147),(39.155,147),(39.155,161.75),(39.6,161.75),(39.6,147),(40.955,147),(40.955,161.75),(41.4,161.75),(41.4,147),(42.755,147),(42.755,161.75),(43.2,161.75),(43.2,147),(44.555,147),(44.555,161.75),(45,161.75),(45,147),(46.355,147),(46.355,161.75),(46.8,161.75),(46.8,147),(48.155,147),(48.155,161.75),(48.6,161.75),(48.6,147),(49.955,147),(49.955,161.75),(50.4,161.75),(50.4,147),(51.755,147),(51.755,161.75),(52.2,161.75),(52.2,147),(53.555,147),(53.555,161.75),(54,161.75),(54,147),(55.355,147),(55.355,161.75),(55.8,161.75),(55.8,147),(57.155,147),(57.155,161.75),(57.6,161.75),(57.6,147),(58.955,147),(58.955,161.75),(59.4,161.75),(59.4,147),(60.755,147),(60.755,161.75),(61.2,161.75),(61.2,147),(62.555,147),(62.555,161.75),(63,161.75),(63,147),(64.355,147),(64.355,161.75),(64.8,161.75),(64.8,147),(66.155,147),(66.155,161.75),(66.6,161.75),(66.6,147),(67.955,147),(67.955,161.75),(68.4,161.75),(68.4,147),(69.755,147),(69.755,161.75),(70.2,161.75),(70.2,147),(71.555,147),(71.555,161.75),(72,161.75),(72,147),(105.6,147),(105.6,142),(-86.4,142),(-86.4,147),(-70.645,147),(-70.645,161.75),(-70.2,161.75),(-70.2,147),(-68.845,147),(-68.845,161.75),(-68.4,161.75)],
  [(-56.7,147.75),(-57.145,147.75),(-57.145,162.5),(-58.5,162.5),(-58.5,147.75),(-58.945,147.75),(-58.945,162.5),(-60.3,162.5),(-60.3,147.75),(-60.745,147.75),(-60.745,162.5),(-62.1,162.5),(-62.1,147.75),(-62.545,147.75),(-62.545,162.5),(-63.9,162.5),(-63.9,147.75),(-64.345,147.75),(-64.345,162.5),(-65.7,162.5),(-65.7,147.75),(-66.145,147.75),(-66.145,162.5),(-67.5,162.5),(-67.5,147.75),(-67.945,147.75),(-67.945,162.5),(-69.3,162.5),(-69.3,147.75),(-69.745,147.75),(-69.745,162.5),(-86.4,162.5),(-86.4,167.5),(105.6,167.5),(105.6,162.5),(72.9,162.5),(72.9,147.75),(72.455,147.75),(72.455,162.5),(71.1,162.5),(71.1,147.75),(70.655,147.75),(70.655,162.5),(69.3,162.5),(69.3,147.75),(68.855,147.75),(68.855,162.5),(67.5,162.5),(67.5,147.75),(67.055,147.75),(67.055,162.5),(65.7,162.5),(65.7,147.75),(65.255,147.75),(65.255,162.5),(63.9,162.5),(63.9,147.75),(63.455,147.75),(63.455,162.5),(62.1,162.5),(62.1,147.75),(61.655,147.75),(61.655,162.5),(60.3,162.5),(60.3,147.75),(59.855,147.75),(59.855,162.5),(58.5,162.5),(58.5,147.75),(58.055,147.75),(58.055,162.5),(56.7,162.5),(56.7,147.75),(56.255,147.75),(56.255,162.5),(54.9,162.5),(54.9,147.75),(54.455,147.75),(54.455,162.5),(53.1,162.5),(53.1,147.75),(52.655,147.75),(52.655,162.5),(51.3,162.5),(51.3,147.75),(50.855,147.75),(50.855,162.5),(49.5,162.5),(49.5,147.75),(49.055,147.75),(49.055,162.5),(47.7,162.5),(47.7,147.75),(47.255,147.75),(47.255,162.5),(45.9,162.5),(45.9,147.75),(45.455,147.75),(45.455,162.5),(44.1,162.5),(44.1,147.75),(43.655,147.75),(43.655,162.5),(42.3,162.5),(42.3,147.75),(41.855,147.75),(41.855,162.5),(40.5,162.5),(40.5,147.75),(40.055,147.75),(40.055,162.5),(38.7,162.5),(38.7,147.75),(38.255,147.75),(38.255,162.5),(36.9,162.5),(36.9,147.75),(36.455,147.75),(36.455,162.5),(35.1,162.5),(35.1,147.75),(34.655,147.75),(34.655,162.5),(33.3,162.5),(33.3,147.75),(32.855,147.75),(32.855,162.5),(31.5,162.5),(31.5,147.75),(31.055,147.75),(31.055,162.5),(29.7,162.5),(29.7,147.75),(29.255,147.75),(29.255,162.5),(27.9,162.5),(27.9,147.75),(27.455,147.75),(27.455,162.5),(26.1,162.5),(26.1,147.75),(25.655,147.75),(25.655,162.5),(24.3,162.5),(24.3,147.75),(23.855,147.75),(23.855,162.5),(22.5,162.5),(22.5,147.75),(22.055,147.75),(22.055,162.5),(20.7,162.5),(20.7,147.75),(20.255,147.75),(20.255,162.5),(18.9,162.5),(18.9,147.75),(18.455,147.75),(18.455,162.5),(17.1,162.5),(17.1,147.75),(16.655,147.75),(16.655,162.5),(15.3,162.5),(15.3,147.75),(14.855,147.75),(14.855,162.5),(13.5,162.5),(13.5,147.75),(13.055,147.75),(13.055,162.5),(11.7,162.5),(11.7,147.75),(11.255,147.75),(11.255,162.5),(9.9,162.5),(9.9,147.75),(9.455,147.75),(9.455,162.5),(8.1,162.5),(8.1,147.75),(7.655,147.75),(7.655,162.5),(6.3,162.5),(6.3,147.75),(5.855,147.75),(5.855,162.5),(4.5,162.5),(4.5,147.75),(4.055,147.75),(4.055,162.5),(2.7,162.5),(2.7,147.75),(2.255,147.75),(2.255,162.5),(0.9,162.5),(0.9,147.75),(0.455,147.75),(0.455,162.5),(-0.9,162.5),(-0.9,147.75),(-1.345,147.75),(-1.345,162.5),(-2.7,162.5),(-2.7,147.75),(-3.145,147.75),(-3.145,162.5),(-4.5,162.5),(-4.5,147.75),(-4.945,147.75),(-4.945,162.5),(-6.3,162.5),(-6.3,147.75),(-6.745,147.75),(-6.745,162.5),(-8.1,162.5),(-8.1,147.75),(-8.545,147.75),(-8.545,162.5),(-9.9,162.5),(-9.9,147.75),(-10.345,147.75),(-10.345,162.5),(-11.7,162.5),(-11.7,147.75),(-12.145,147.75),(-12.145,162.5),(-13.5,162.5),(-13.5,147.75),(-13.945,147.75),(-13.945,162.5),(-15.3,162.5),(-15.3,147.75),(-15.745,147.75),(-15.745,162.5),(-17.1,162.5),(-17.1,147.75),(-17.545,147.75),(-17.545,162.5),(-18.9,162.5),(-18.9,147.75),(-19.345,147.75),(-19.345,162.5),(-20.7,162.5),(-20.7,147.75),(-21.145,147.75),(-21.145,162.5),(-22.5,162.5),(-22.5,147.75),(-22.945,147.75),(-22.945,162.5),(-24.3,162.5),(-24.3,147.75),(-24.745,147.75),(-24.745,162.5),(-26.1,162.5),(-26.1,147.75),(-26.545,147.75),(-26.545,162.5),(-27.9,162.5),(-27.9,147.75),(-28.345,147.75),(-28.345,162.5),(-29.7,162.5),(-29.7,147.75),(-30.145,147.75),(-30.145,162.5),(-31.5,162.5),(-31.5,147.75),(-31.945,147.75),(-31.945,162.5),(-33.3,162.5),(-33.3,147.75),(-33.745,147.75),(-33.745,162.5),(-35.1,162.5),(-35.1,147.75),(-35.545,147.75),(-35.545,162.5),(-36.9,162.5),(-36.9,147.75),(-37.345,147.75),(-37.345,162.5),(-38.7,162.5),(-38.7,147.75),(-39.145,147.75),(-39.145,162.5),(-40.5,162.5),(-40.5,147.75),(-40.945,147.75),(-40.945,162.5),(-42.3,162.5),(-42.3,147.75),(-42.745,147.75),(-42.745,162.5),(-44.1,162.5),(-44.1,147.75),(-44.545,147.75),(-44.545,162.5),(-45.9,162.5),(-45.9,147.75),(-46.345,147.75),(-46.345,162.5),(-47.7,162.5),(-47.7,147.75),(-48.145,147.75),(-48.145,162.5),(-49.5,162.5),(-49.5,147.75),(-49.945,147.75),(-49.945,162.5),(-51.3,162.5),(-51.3,147.75),(-51.745,147.75),(-51.745,162.5),(-53.1,162.5),(-53.1,147.75),(-53.545,147.75),(-53.545,162.5),(-54.9,162.5),(-54.9,147.75),(-55.345,147.75),(-55.345,162.5),(-56.7,162.5),(-56.7,147.75)])
P(idt_test2, L4_4, [(63.6,-215.5),(63.6,-366.5),(-6.4,-366.5),(-6.4,-266.5),(53.6,-155.5),(353.6,-155.5),(353.6,-215.5),(63.6,-215.5)],
  [(73.6,-225.5),(363.6,-225.5),(363.6,-145.5),(101.6,-145.5),(101.6,-130.5),(403.6,-130.5),(403.6,-366.5),(73.6,-366.5),(73.6,-225.5)],
  [(-913.6,-65.5),(-1203.6,-65.5),(-1203.6,-5.5),(-903.6,-5.5),(-833.6,-115.5),(-833.6,-215.5),(-913.6,-215.5),(-913.6,-65.5)],
  [(-1213.6,-75.5),(-923.6,-75.5),(-923.6,-215.5),(-1253.6,-215.5),(-1253.6,19.5),(-951.6,19.5),(-951.6,4.5),(-1213.6,4.5),(-1213.6,-75.5)],
  [(63.6,-66.5),(-6.4,-66.5),(-6.4,33.5),(53.6,144.5),(353.6,144.5),(353.6,84.5),(63.6,84.5),(63.6,-66.5)],
  [(73.6,74.5),(363.6,74.5),(363.6,154.5),(101.6,154.5),(101.6,169.5),(403.6,169.5),(403.6,-66.5),(73.6,-66.5),(73.6,74.5)])

lib.write_gds('IDT_test2.gds')
